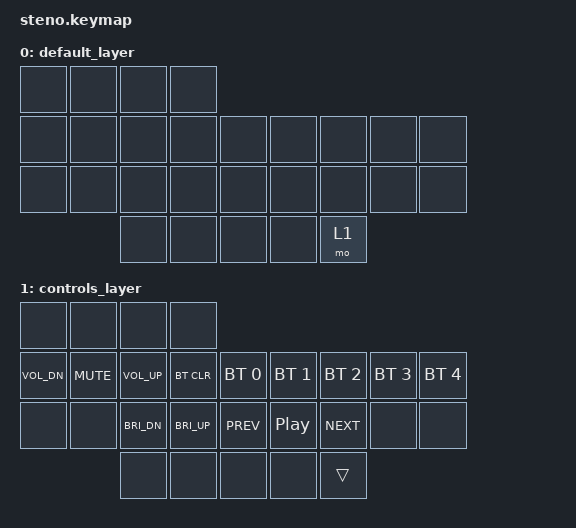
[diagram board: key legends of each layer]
/*
 * Base layer binds every steno key to &none: the steno module reads key
 * positions directly, so the keymap only needs to not type anything itself.
 * Position 26 keeps the control layer toggle.
 *
 * SPDX-License-Identifier: MIT
 */
#include <behaviors.dtsi>
#include <dt-bindings/zmk/keys.h>
#include <dt-bindings/zmk/bt.h>

/ {
	keymap {
		compatible = "zmk,keymap";

		default_layer {
			bindings = <
				&none  &none  &none  &none
				&none  &none  &none  &none  &none  &none  &none  &none  &none
				&none  &none  &none  &none  &none  &none  &none  &none  &none
				              &none  &none  &none  &none  &mo 1
			>;
		};

		controls_layer {
			bindings = <
				&none         &none         &none         &none
				&kp C_VOL_DN  &kp C_MUTE    &kp C_VOL_UP  &bt BT_CLR    &bt BT_SEL 0  &bt BT_SEL 1  &bt BT_SEL 2  &bt BT_SEL 3  &bt BT_SEL 4
				&none         &none         &kp C_BRI_DN  &kp C_BRI_UP  &kp C_PREV    &kp C_PLAY_PAUSE  &kp C_NEXT  &none      &none
				                            &none         &none         &none         &none         &trans
			>;
		};
	};
};
